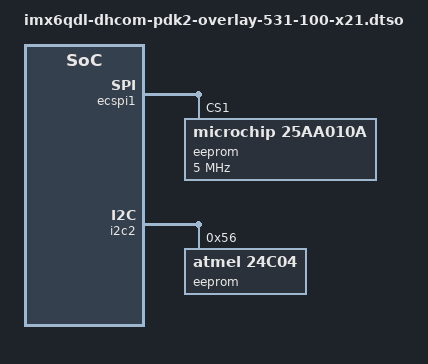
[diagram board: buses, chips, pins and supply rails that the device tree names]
// SPDX-License-Identifier: (GPL-2.0+ OR BSD-3-Clause)
/*
 * Copyright (C) 2021-2026 Marek Vasut
 */
/dts-v1/;
/plugin/;

&ecspi1 {
	#address-cells = <1>;
	#size-cells = <0>;
	status = "okay";

	eeprom@1 {
		compatible = "microchip,25aa010a", "atmel,at25";
		reg = <1>;
		address-width = <8>;
		pagesize = <16>;
		size = <128>;
		spi-max-frequency = <5000000>;
	};
};

&i2c2 {
	#address-cells = <1>;
	#size-cells = <0>;

	eeprom@56 {
		compatible = "atmel,24c04";
		reg = <0x56>;
		pagesize = <16>;
	};
};
